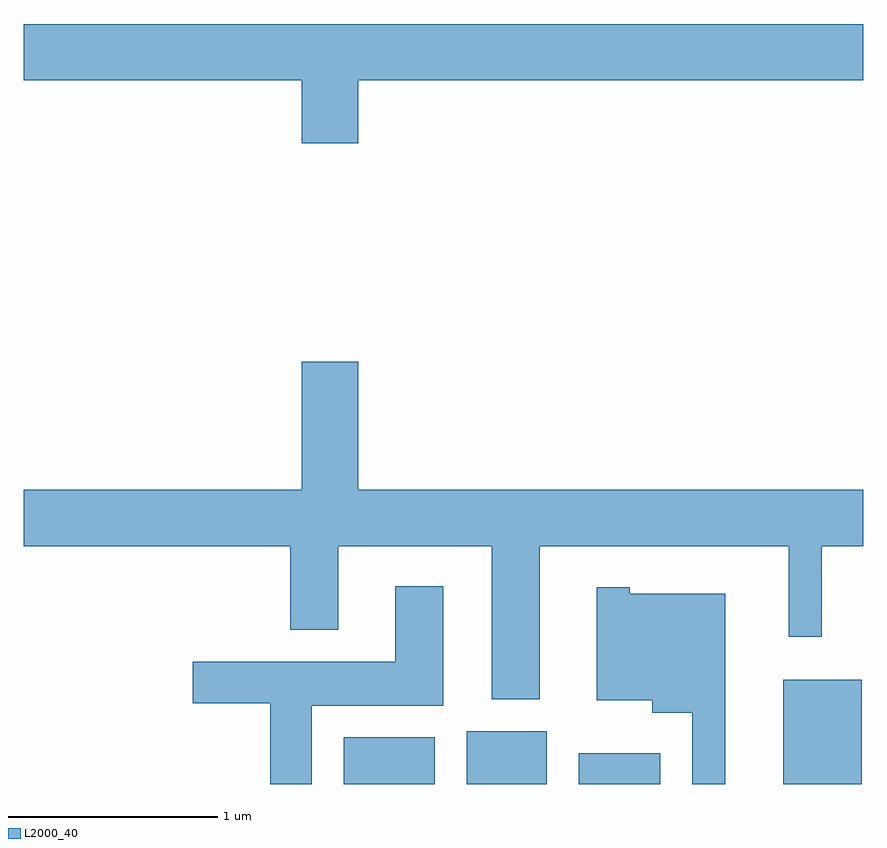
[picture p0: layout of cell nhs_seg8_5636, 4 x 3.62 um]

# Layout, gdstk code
import gdstk
lib = gdstk.Library(unit=1e-6, precision=1e-09)
def R(c, l, rs):  # rectangles x0, y0, x1, y1
    for r in rs: c.add(gdstk.rectangle(r[:2], r[2:], *l))
def P(c, l, *ps):  # polygons
    for p in ps: c.add(gdstk.Polygon(p, *l))
L2000_40 = (2000, 40)

nhs_seg8_5636 = lib.new_cell('nhs_seg8_5636')
R(nhs_seg8_5636, L2000_40, [(355.136,1886.342,355.569,1886.564), (355.721,1886.342,356.104,1886.594), (356.256,1886.342,356.644,1886.489), (357.231,1886.342,357.604,1886.839)])
P(nhs_seg8_5636, L2000_40, [(355.204,1889.696),(357.611,1889.696),(357.611,1889.964),(353.611,1889.964),(353.611,1889.696),(354.936,1889.696),(354.936,1889.396),(355.204,1889.396)],
  [(356.069,1887.476),(357.256,1887.476),(357.256,1887.043),(357.414,1887.043),(357.414,1887.476),(357.611,1887.476),(357.611,1887.744),(355.204,1887.744),(355.204,1888.354),(354.936,1888.354),(354.936,1887.744),(353.611,1887.744),(353.611,1887.476),(354.881,1887.476),(354.881,1887.076),(355.109,1887.076),(355.109,1887.476),(355.841,1887.476),(355.841,1886.746),(356.069,1886.746)],
  [(354.984,1886.716),(355.609,1886.716),(355.609,1887.284),(355.381,1887.284),(355.381,1886.924),(354.416,1886.924),(354.416,1886.726),(354.786,1886.726),(354.786,1886.342),(354.984,1886.342)],
  [(356.954,1887.249),(356.499,1887.249),(356.499,1887.279),(356.341,1887.279),(356.341,1886.741),(356.606,1886.741),(356.606,1886.681),(356.796,1886.681),(356.796,1886.342),(356.954,1886.342)])

lib.write_gds('nhs_seg8_5636.gds')
